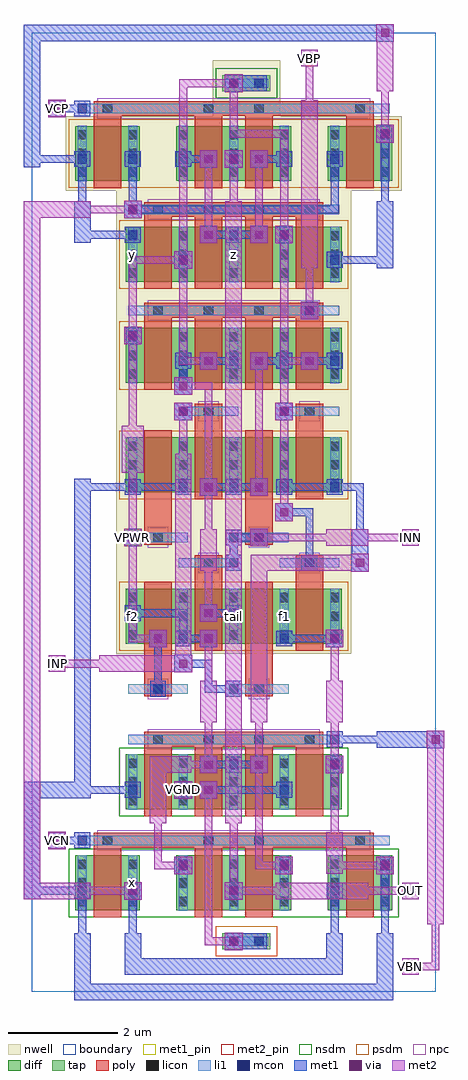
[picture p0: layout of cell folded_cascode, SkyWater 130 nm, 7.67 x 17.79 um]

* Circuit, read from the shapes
.subckt folded_cascode INN INP OUT VBN VBP VCN VCP VGND VPWR f1 f2 tail x y z
XM1 x VCN f1 VGND sky130_fd_pr__nfet_01v8 w=1 l=0.5 m=2
XM2 VGND VBN f1 VGND sky130_fd_pr__nfet_01v8 w=1 l=0.5 m=2
XM3 OUT VCN f2 VGND sky130_fd_pr__nfet_01v8 w=1 l=0.5 m=2
XM4 f2 VBN VGND VGND sky130_fd_pr__nfet_01v8 w=1 l=0.5 m=2
XM5 x VCP y VPWR sky130_fd_pr__pfet_01v8 w=1 l=0.5 m=2
XM6 f2 VPWR f2 VPWR sky130_fd_pr__pfet_01v8 w=1 l=0.5 m=2
XM7 f1 VPWR f1 VPWR sky130_fd_pr__pfet_01v8 w=1 l=0.5 m=2
XM8 tail VBP VPWR VPWR sky130_fd_pr__pfet_01v8 w=1 l=0.5 m=4
XM9 VPWR x y VPWR sky130_fd_pr__pfet_01v8 w=1 l=0.5 m=2
XM10 tail INN f2 VPWR sky130_fd_pr__pfet_01v8 w=1 l=0.5 m=2
XM11 tail INP f1 VPWR sky130_fd_pr__pfet_01v8 w=1 l=0.5 m=2
XM12 z x VPWR VPWR sky130_fd_pr__pfet_01v8 w=1 l=0.5 m=2
XM13 OUT VCP z VPWR sky130_fd_pr__pfet_01v8 w=1 l=0.5 m=2
.ends

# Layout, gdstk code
import gdstk
lib = gdstk.Library(unit=1e-6, precision=1e-09)
def R(c, l, rs):  # rectangles x0, y0, x1, y1
    for r in rs: c.add(gdstk.rectangle(r[:2], r[2:], *l))
def A(c, l, x, y, w, h, nx, ny, dx, dy):  # array of equal rectangles
    R(c, l, [(x+i*dx, y+j*dy, x+i*dx+w, y+j*dy+h) for i in range(nx) for j in range(ny)])
nwell = (64, 20)
diff = (65, 20)
tap = (65, 44)
poly = (66, 20)
licon = (66, 44)
li1 = (67, 20)
mcon = (67, 44)
met1_pin = (68, 16)
met1 = (68, 20)
via = (68, 44)
met2_pin = (69, 16)
met2 = (69, 20)
nsdm = (93, 44)
psdm = (94, 20)
npc = (95, 20)
boundary = (235, 4)

folded_cascode = lib.new_cell('folded_cascode')
R(folded_cascode, nwell, [(1.535,6.165,5.825,14.6), (0.615,14.6,6.745,15.96), (3.295,15.96,4.525,16.98)])
R(folded_cascode, diff, [(0.795,1.485,1.965,2.485), (2.635,1.485,4.725,2.485), (5.395,1.485,6.565,2.485), (1.715,3.325,5.645,4.325), (1.715,6.345,5.645,7.345), (1.715,9.105,5.645,10.105), (1.715,11.1,5.645,12.1), (1.715,12.94,5.645,13.94), (0.795,14.78,1.965,15.78), (2.635,14.78,4.725,15.78), (5.395,14.78,6.565,15.78)])
R(folded_cascode, tap, [(3.475,0.775,4.345,1.065), (3.475,16.415,4.345,16.705)])
A(folded_cascode, poly, 2.05, 3.195, 0.5, 1.405, 4, 1, 0.92, 0)
A(folded_cascode, poly, 2.05, 10.97, 0.5, 1.45, 4, 2, 0.92, 1.84)
R(folded_cascode, poly, [(1.13,1.355,1.63,2.76), (2.97,1.355,3.47,2.76), (3.89,1.355,4.39,2.76), (5.73,1.355,6.23,2.76), (1.13,2.625,6.23,2.895), (2.05,4.465,5.31,4.735), (2.05,5.385,2.55,5.655), (3.89,5.385,4.39,5.655), (2.05,5.52,2.55,7.475), (3.89,5.52,4.39,7.475), (2.97,6.215,3.47,7.82), (4.81,6.215,5.31,7.82), (2.97,7.685,3.47,7.955), (4.81,7.685,5.31,7.955), (2.05,8.145,2.55,8.415), (3.89,8.145,4.39,8.415), (2.05,8.28,2.55,10.235), (3.89,8.28,4.39,10.235), (2.97,8.975,3.47,10.58), (4.81,8.975,5.31,10.58), (2.97,10.445,3.47,10.715), (4.81,10.445,5.31,10.715), (2.05,12.285,5.31,12.555), (2.05,14.125,5.31,14.395), (1.13,14.65,1.63,16.1), (2.97,14.65,3.47,16.1), (3.89,14.65,4.39,16.1), (5.73,14.65,6.23,16.1), (1.13,15.965,6.23,16.235)])
A(folded_cascode, licon, 0.835, 1.56, 0.17, 0.17, 7, 3, 0.92, 0.34)
A(folded_cascode, licon, 4.055, 2.675, 0.17, 0.17, 1, 3, 0, 2.76)
A(folded_cascode, licon, 1.755, 3.4, 0.17, 0.17, 5, 3, 0.92, 0.34)
A(folded_cascode, licon, 2.215, 4.515, 0.17, 0.17, 4, 2, 0.92, 7.82)
A(folded_cascode, licon, 1.755, 6.42, 0.17, 0.17, 5, 3, 0.92, 0.34)
A(folded_cascode, licon, 1.755, 9.18, 0.17, 0.17, 5, 3, 0.92, 0.34)
A(folded_cascode, licon, 1.755, 11.175, 0.17, 0.17, 5, 3, 0.92, 0.34)
A(folded_cascode, licon, 1.755, 13.015, 0.17, 0.17, 5, 3, 0.92, 0.34)
A(folded_cascode, licon, 2.215, 14.175, 0.17, 0.17, 4, 1, 0.92, 0)
A(folded_cascode, licon, 0.835, 14.855, 0.17, 0.17, 7, 3, 0.92, 0.34)
R(folded_cascode, licon, [(3.595,0.835,3.765,1.005), (4.055,0.835,4.225,1.005), (1.295,2.675,1.465,2.845), (3.135,2.675,3.305,2.845), (5.895,2.675,6.065,2.845), (2.215,5.435,2.385,5.605), (3.135,7.735,3.305,7.905), (4.975,7.735,5.145,7.905), (2.215,8.195,2.385,8.365), (3.135,10.495,3.305,10.665), (4.975,10.495,5.145,10.665), (1.295,16.015,1.465,16.185), (3.135,16.015,3.305,16.185), (4.055,16.015,4.225,16.185), (5.895,16.015,6.065,16.185), (3.595,16.475,3.765,16.645), (4.055,16.475,4.225,16.645)])
A(folded_cascode, li1, 0.835, 1.48, 0.17, 1.01, 7, 2, 0.92, 13.295)
A(folded_cascode, li1, 1.755, 3.32, 0.17, 1.01, 5, 2, 0.92, 3.02)
A(folded_cascode, li1, 1.755, 9.1, 0.17, 1.01, 5, 2, 0.92, 1.995)
A(folded_cascode, li1, 1.755, 12.935, 0.17, 1.01, 5, 1, 0.92, 0)
R(folded_cascode, li1, [(3.515,0.835,4.305,1.005), (0.835,2.675,6.525,2.845), (1.755,4.515,5.605,4.685), (1.755,5.435,2.845,5.605), (3.595,5.435,4.685,5.605), (2.675,7.735,3.765,7.905), (4.515,7.735,5.605,7.905), (1.755,8.195,2.845,8.365), (3.595,8.195,4.685,8.365), (2.675,10.495,3.765,10.665), (4.515,10.495,5.605,10.665), (1.755,12.335,5.605,12.505), (1.755,14.175,5.605,14.345), (0.835,16.015,6.525,16.185), (3.515,16.475,4.305,16.645)])
A(folded_cascode, mcon, 1.755, 1.755, 0.17, 0.17, 3, 1, 1.84, 0)
A(folded_cascode, mcon, 2.675, 2.215, 0.17, 0.17, 3, 1, 1.84, 0)
A(folded_cascode, mcon, 3.595, 4.055, 0.17, 0.17, 1, 3, 0, 1.38)
A(folded_cascode, mcon, 1.755, 9.115, 0.17, 0.17, 5, 1, 0.92, 0)
A(folded_cascode, mcon, 2.675, 11.415, 0.17, 0.17, 4, 1, 0.92, 0)
A(folded_cascode, mcon, 0.835, 15.095, 0.17, 0.17, 6, 1, 0.92, 0)
R(folded_cascode, mcon, [(3.595,0.835,3.765,1.005), (4.055,0.835,4.225,1.005), (0.835,1.755,1.005,1.925), (0.835,2.675,1.005,2.845), (1.755,3.595,1.925,3.765), (2.675,3.595,2.845,3.765), (4.515,3.595,4.685,3.765), (5.435,4.055,5.605,4.225), (5.435,4.515,5.605,4.685), (2.215,5.435,2.385,5.605), (2.675,6.355,2.845,6.525), (4.515,6.355,4.685,6.525), (5.435,6.355,5.605,6.525), (1.755,6.815,1.925,6.985), (3.595,7.735,3.765,7.905), (4.975,7.735,5.145,7.905), (1.755,8.195,1.925,8.365), (3.595,8.195,3.765,8.365), (2.675,10.495,2.845,10.665), (4.515,10.495,4.685,10.665), (1.755,11.875,1.925,12.045), (4.975,12.335,5.145,12.505), (2.675,13.255,2.845,13.425), (5.435,13.255,5.605,13.425), (1.755,13.715,1.925,13.885), (3.595,13.715,3.765,13.885), (4.515,13.715,4.685,13.885), (1.755,14.175,1.925,14.345), (6.355,15.555,6.525,15.725), (0.835,16.015,1.005,16.185), (3.595,16.475,3.765,16.645), (4.055,16.475,4.225,16.645)])
R(folded_cascode, met1_pin, [(2.615,3.535,2.905,3.825), (1.695,8.135,1.985,8.425)])
A(folded_cascode, met1, 1.695, 1.695, 0.29, 0.29, 3, 1, 1.84, 0)
A(folded_cascode, met1, 2.6, 2.14, 0.32, 0.32, 3, 1, 1.84, 0)
A(folded_cascode, met1, 2.615, 2.155, 0.29, 0.29, 3, 1, 1.84, 0)
A(folded_cascode, met1, 3.535, 3.995, 0.29, 0.29, 1, 3, 0, 1.38)
A(folded_cascode, met1, 3.15, 4.07, 0.6, 0.14, 1, 3, 0, 1.38)
A(folded_cascode, met1, 1.695, 9.055, 0.29, 0.29, 5, 1, 0.92, 0)
A(folded_cascode, met1, 3.06, 11.34, 0.32, 0.32, 3, 1, 0.92, 0)
A(folded_cascode, met1, 2.615, 11.355, 0.29, 0.29, 4, 1, 0.92, 0)
A(folded_cascode, met1, 3.15, 11.43, 0.6, 0.14, 3, 1, 0.92, 0)
A(folded_cascode, met1, 3.06, 15.02, 0.32, 0.32, 3, 1, 0.46, 0)
A(folded_cascode, met1, 0.775, 15.035, 0.29, 0.29, 6, 1, 0.92, 0)
R(folded_cascode, met1, [(0.77,-0.15,6.59,0.15), (0.77,-0.15,1.07,1.07), (6.29,-0.15,6.59,1.07), (1.69,0.31,5.67,0.61), (1.69,0.31,1.99,1.07), (5.37,0.31,5.67,1.07), (3.52,0.76,3.84,1.08), (3.535,0.775,4.285,1.065), (0.85,0.85,0.99,1.91), (1.77,0.85,1.91,1.91), (3.61,0.85,3.75,0.99), (5.45,0.85,5.59,1.91), (6.37,0.85,6.51,2.37), (1.68,1.68,2,2), (3.52,1.68,3.84,2), (-0.15,1.69,0.15,3.83), (0.775,1.695,1.065,1.985), (-0.07,1.77,0.99,1.91), (0.3,2.6,0.62,2.92), (0.775,2.615,1.065,2.905), (0.39,2.69,0.99,2.83), (2.6,3.52,2.92,3.84), (3.06,3.52,3.38,3.84), (-0.15,3.53,1.07,3.83), (0.77,3.53,1.07,9.35), (1.695,3.535,1.985,3.825), (2.615,3.535,2.905,3.825), (4.455,3.535,4.745,3.825), (0.85,3.61,1.91,3.75), (3.15,3.61,4.67,3.75), (3.06,3.98,3.38,4.3), (3.98,3.98,4.3,4.3), (5.36,3.98,5.68,4.3), (5.375,3.995,5.665,4.285), (3.61,4.07,4.21,4.21), (7.2,4.44,7.52,4.76), (6.29,4.45,7.51,4.75), (5.375,4.455,5.665,4.745), (5.45,4.53,6.51,4.67), (2.155,5.375,2.445,5.665), (2.23,5.45,2.37,6.51), (3.15,5.45,3.29,6.05), (2.6,5.82,2.92,6.14), (2.69,5.91,3.29,6.05), (2.14,6.28,2.46,6.6), (3.06,6.28,3.38,6.6), (5.36,6.28,5.68,6.6), (2.615,6.295,2.905,6.585), (4.455,6.295,4.745,6.585), (5.375,6.295,5.665,6.585), (2.69,6.37,3.29,6.51), (2.69,6.37,2.83,6.97), (4.53,6.37,5.59,6.51), (3.06,6.74,3.38,7.06), (1.695,6.755,1.985,7.045), (1.77,6.83,2.83,6.97), (5.82,7.66,6.14,7.98), (5.83,7.67,6.13,8.43), (3.535,7.675,3.825,7.965), (4.915,7.675,5.205,7.965), (3.61,7.75,3.75,8.35), (4.99,7.75,5.13,8.81), (1.68,8.12,2,8.44), (3.98,8.12,4.3,8.44), (1.695,8.135,1.985,8.425), (3.535,8.135,3.825,8.425), (3.61,8.21,4.21,8.35), (5.91,8.21,6.05,9.27), (4.44,8.58,4.76,8.9), (4.53,8.67,5.13,8.81), (3.06,9.04,3.38,9.36), (3.98,9.04,4.3,9.36), (0.85,9.13,1.91,9.27), (1.77,9.13,2.83,9.27), (3.15,9.13,3.75,9.27), (3.61,9.13,4.21,9.27), (4.53,9.13,5.59,9.27), (5.45,9.13,6.05,9.27), (2.6,10.42,2.92,10.74), (4.44,10.42,4.76,10.74), (2.615,10.435,2.905,10.725), (4.455,10.435,4.745,10.725), (2.6,10.88,2.92,11.2), (2.69,10.97,2.83,11.57), (1.68,11.8,2,12.12), (1.695,11.815,1.985,12.105), (4.9,12.26,5.22,12.58), (4.915,12.275,5.205,12.565), (2.6,13.18,2.92,13.5), (6.29,13.19,6.59,14.41), (2.615,13.195,2.905,13.485), (5.375,13.195,5.665,13.485), (5.45,13.27,6.51,13.41), (3.06,13.64,3.38,13.96), (3.98,13.64,4.3,13.96), (4.44,13.64,4.76,13.96), (0.77,13.65,1.07,14.41), (1.695,13.655,1.985,13.945), (3.535,13.655,3.825,13.945), (4.455,13.655,4.745,13.945), (0.85,13.73,1.91,13.87), (3.15,13.73,3.75,13.87), (3.61,13.73,4.21,13.87), (1.68,14.1,2,14.42), (1.695,14.115,1.985,14.405), (0.85,14.19,0.99,15.25), (1.77,14.19,1.91,15.25), (1.77,14.19,5.59,14.33), (5.45,14.19,5.59,15.25), (6.37,14.19,6.51,15.71), (-0.15,15.03,0.15,17.63), (-0.07,15.11,0.99,15.25), (2.69,15.11,3.29,15.25), (4.07,15.11,4.67,15.25), (6.28,15.48,6.6,15.8), (6.295,15.495,6.585,15.785), (0.3,15.94,0.62,16.26), (0.775,15.955,1.065,16.245), (0.39,16.03,0.99,16.17), (3.52,16.4,3.84,16.72), (3.535,16.415,4.285,16.705), (3.61,16.49,3.75,16.63), (6.28,17.32,6.6,17.64), (-0.15,17.33,6.59,17.63)])
A(folded_cascode, via, 2.685, 2.225, 0.15, 0.15, 3, 1, 1.84, 0)
A(folded_cascode, via, 3.145, 11.425, 0.15, 0.15, 3, 1, 0.92, 0)
A(folded_cascode, via, 3.145, 15.105, 0.15, 0.15, 3, 1, 0.46, 0)
R(folded_cascode, via, [(3.605,0.845,3.755,0.995), (1.765,1.765,1.915,1.915), (3.605,1.765,3.755,1.915), (0.385,2.685,0.535,2.835), (2.685,3.605,2.835,3.755), (3.145,3.605,3.295,3.755), (3.145,4.065,3.295,4.215), (4.065,4.065,4.215,4.215), (5.445,4.065,5.595,4.215), (7.285,4.525,7.435,4.675), (2.685,5.905,2.835,6.055), (2.225,6.365,2.375,6.515), (3.145,6.365,3.295,6.515), (5.445,6.365,5.595,6.515), (3.145,6.825,3.295,6.975), (5.905,7.745,6.055,7.895), (1.765,8.205,1.915,8.355), (4.065,8.205,4.215,8.355), (4.525,8.665,4.675,8.815), (3.145,9.125,3.295,9.275), (4.065,9.125,4.215,9.275), (2.685,10.505,2.835,10.655), (4.525,10.505,4.675,10.655), (2.685,10.965,2.835,11.115), (1.765,11.885,1.915,12.035), (4.985,12.345,5.135,12.495), (2.685,13.265,2.835,13.415), (3.145,13.725,3.295,13.875), (4.065,13.725,4.215,13.875), (4.525,13.725,4.675,13.875), (1.765,14.185,1.915,14.335), (6.365,15.565,6.515,15.715), (0.385,16.025,0.535,16.175), (3.605,16.485,3.755,16.635), (6.365,17.405,6.515,17.555)])
R(folded_cascode, met2_pin, [(6.75,0.31,7.05,0.61), (6.75,1.69,7.05,1.99), (0.31,2.61,0.61,2.91), (0.31,5.83,0.61,6.13), (6.75,8.13,7.05,8.43), (0.31,15.95,0.61,16.25), (4.91,16.87,5.21,17.17)])
A(folded_cascode, met2, 2.6, 2.14, 0.32, 0.32, 3, 1, 1.84, 0)
A(folded_cascode, met2, 3.15, 4.07, 0.14, 1.06, 1, 4, 0, 1.38)
A(folded_cascode, met2, 3.06, 11.34, 0.32, 0.32, 3, 1, 0.92, 0)
A(folded_cascode, met2, 3.06, 15.02, 0.32, 0.32, 3, 1, 0.46, 0)
R(folded_cascode, met2, [(6.75,0.31,7.05,0.61), (6.83,0.39,7.43,0.53), (6.83,0.39,6.97,0.53), (7.29,0.39,7.43,1.45), (3.52,0.76,3.84,1.08), (3.15,0.85,3.75,0.99), (3.15,0.85,3.29,3.75), (7.21,1.23,7.51,4.75), (1.68,1.68,2,2), (3.52,1.68,3.84,2), (-0.15,1.69,0.15,14.41), (-0.15,1.69,1.07,1.99), (4.45,1.69,6.13,1.99), (6.75,1.69,7.05,1.99), (0.85,1.77,1.91,1.91), (3.61,1.77,4.67,1.91), (3.61,1.77,3.75,3.29), (5.91,1.77,6.97,1.91), (6.83,1.77,6.97,1.91), (5.37,2.15,5.67,2.91), (2.23,2.23,2.37,3.29), (2.23,2.23,2.83,2.37), (4.07,2.23,4.21,4.21), (4.07,2.23,4.67,2.37), (5.45,2.23,6.51,2.37), (0.3,2.6,0.62,2.92), (0.31,2.61,0.61,2.91), (0.39,2.69,0.53,2.83), (5.45,2.69,5.59,4.21), (2.15,3.07,2.45,4.29), (3.53,3.07,3.83,14.41), (2.6,3.52,2.92,3.84), (3.06,3.52,3.38,3.84), (2.69,3.61,3.29,3.75), (3.06,3.98,3.38,4.3), (3.98,3.98,4.3,4.3), (5.36,3.98,5.68,4.3), (2.15,3.99,2.91,4.29), (2.69,4.07,3.29,4.21), (4.07,4.07,4.21,5.13), (5.45,4.07,5.59,5.13), (7.2,4.44,7.52,4.76), (3.07,4.91,3.37,5.67), (3.99,4.91,4.29,7.97), (5.37,4.91,5.67,5.67), (5.45,5.45,5.59,6.51), (2.6,5.82,2.92,6.14), (0.31,5.83,0.61,6.13), (1.23,5.83,2.91,6.13), (2.61,5.83,2.91,9.81), (0.39,5.91,1.45,6.05), (0.39,5.91,0.53,6.05), (2.14,6.28,2.46,6.6), (3.06,6.28,3.38,6.6), (5.36,6.28,5.68,6.6), (1.77,6.37,1.91,8.35), (1.77,6.37,2.37,6.51), (3.06,6.74,3.38,7.06), (5.82,7.66,6.14,7.98), (3.07,7.67,3.37,8.43), (3.99,7.67,6.13,7.97), (1.68,8.12,2,8.44), (3.98,8.12,4.3,8.44), (5.37,8.13,6.13,8.43), (6.75,8.13,7.05,8.43), (1.77,8.21,1.91,9.73), (4.07,8.21,5.59,8.35), (5.91,8.21,6.97,8.35), (6.83,8.21,6.97,8.35), (4.44,8.58,4.76,8.9), (4.53,8.67,4.67,10.65), (3.06,9.04,3.38,9.36), (3.98,9.04,4.3,9.36), (3.15,9.13,3.29,11.11), (4.07,9.13,4.21,11.57), (1.64,9.46,2.04,10.32), (2.69,9.59,2.83,10.65), (1.77,10.05,1.91,12.03), (2.6,10.42,2.92,10.74), (4.44,10.42,4.76,10.74), (4.53,10.51,4.67,13.87), (2.6,10.88,2.92,11.2), (2.69,10.97,3.29,11.11), (2.69,11.43,2.83,13.41), (2.69,11.43,3.29,11.57), (4.53,11.43,5.13,11.57), (1.68,11.8,2,12.12), (1.77,11.89,1.91,13.41), (4.9,12.26,5.22,12.58), (4.99,12.35,5.13,13.41), (2.6,13.18,2.92,13.5), (4.91,13.19,5.21,16.25), (1.77,13.27,2.83,13.41), (2.69,13.27,2.83,16.63), (3.06,13.64,3.38,13.96), (3.98,13.64,4.3,13.96), (4.44,13.64,4.76,13.96), (3.15,13.73,3.29,15.25), (4.07,13.73,4.21,15.25), (4.53,13.73,4.67,15.71), (1.68,14.1,2,14.42), (-0.15,14.11,1.07,14.41), (0.85,14.19,1.91,14.33), (3.61,14.19,3.75,15.25), (6.28,15.48,6.6,15.8), (3.61,15.57,4.67,15.71), (3.61,15.57,3.75,16.63), (6.37,15.57,6.51,16.63), (0.3,15.94,0.62,16.26), (0.31,15.95,0.61,16.25), (0.39,16.03,0.53,16.17), (4.99,16.03,5.13,17.09), (3.52,16.4,3.84,16.72), (6.29,16.41,6.59,17.63), (2.69,16.49,3.75,16.63), (4.91,16.87,5.21,17.17), (4.99,16.95,5.13,17.09), (6.28,17.32,6.6,17.64)])
R(folded_cascode, nsdm, [(0.67,1.36,6.69,2.61), (1.59,3.2,5.77,4.45), (3.35,16.29,4.47,16.83)])
R(folded_cascode, psdm, [(3.35,0.65,4.47,1.19), (1.59,6.22,5.77,7.47), (1.59,8.98,5.77,10.23), (1.59,10.975,5.77,12.225), (1.59,12.815,5.77,14.065), (0.67,14.655,6.69,15.905)])
R(folded_cascode, npc, [(1.195,2.575,6.165,2.945), (2.115,4.415,5.245,4.785), (2.115,5.335,2.485,5.705), (3.955,5.335,4.325,5.705), (3.035,7.635,3.405,8.005), (4.875,7.635,5.245,8.005), (2.115,8.095,2.485,8.465), (3.955,8.095,4.325,8.465), (3.035,10.395,3.405,10.765), (4.875,10.395,5.245,10.765), (2.115,12.235,5.245,12.605), (2.115,14.075,5.245,14.445), (1.195,15.915,6.165,16.285)])
R(folded_cascode, boundary, [(0,0,7.36,17.48)])
folded_cascode.add(gdstk.Label('f2', (1.84,6.845), layer=67, texttype=5))
folded_cascode.add(gdstk.Label('tail', (3.68,6.845), layer=67, texttype=5))
folded_cascode.add(gdstk.Label('f1', (4.6,6.845), layer=67, texttype=5))
folded_cascode.add(gdstk.Label('x', (1.84,1.985), layer=67, texttype=5))
folded_cascode.add(gdstk.Label('y', (1.84,13.44), layer=67, texttype=5))
folded_cascode.add(gdstk.Label('z', (3.68,13.44), layer=67, texttype=5))
folded_cascode.add(gdstk.Label('VPWR', (1.84,8.28), layer=68, texttype=5))
folded_cascode.add(gdstk.Label('VGND', (2.76,3.68), layer=68, texttype=5))
folded_cascode.add(gdstk.Label('INP', (0.46,5.98), layer=69, texttype=5))
folded_cascode.add(gdstk.Label('INN', (6.9,8.28), layer=69, texttype=5))
folded_cascode.add(gdstk.Label('VBP', (5.06,17.02), layer=69, texttype=5))
folded_cascode.add(gdstk.Label('VBN', (6.9,0.46), layer=69, texttype=5))
folded_cascode.add(gdstk.Label('VCN', (0.46,2.76), layer=69, texttype=5))
folded_cascode.add(gdstk.Label('VCP', (0.46,16.1), layer=69, texttype=5))
folded_cascode.add(gdstk.Label('OUT', (6.9,1.84), layer=69, texttype=5))
folded_cascode.add(gdstk.Label('VPWR', (1.84,8.28), layer=68, texttype=16))
folded_cascode.add(gdstk.Label('VGND', (2.76,3.68), layer=68, texttype=16))
folded_cascode.add(gdstk.Label('INP', (0.46,5.98), layer=69, texttype=16))
folded_cascode.add(gdstk.Label('INN', (6.9,8.28), layer=69, texttype=16))
folded_cascode.add(gdstk.Label('VBP', (5.06,17.02), layer=69, texttype=16))
folded_cascode.add(gdstk.Label('VBN', (6.9,0.46), layer=69, texttype=16))
folded_cascode.add(gdstk.Label('VCN', (0.46,2.76), layer=69, texttype=16))
folded_cascode.add(gdstk.Label('VCP', (0.46,16.1), layer=69, texttype=16))
folded_cascode.add(gdstk.Label('OUT', (6.9,1.84), layer=69, texttype=16))

lib.write_gds('folded_cascode.gds')
